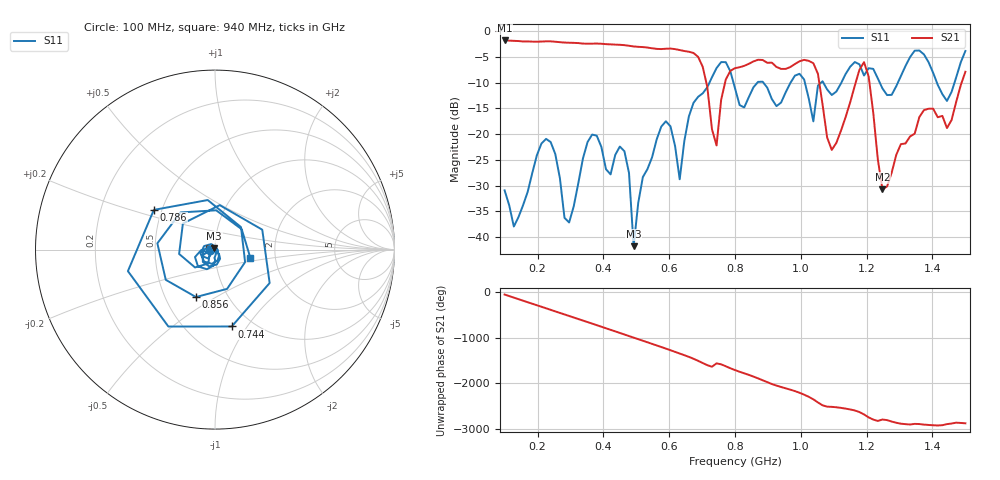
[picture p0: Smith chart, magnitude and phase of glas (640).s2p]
! NanoVNA-App
! Date: 2025-09-25 16:00:27
! Start: 100MHz Stop: 1,5GHz Points: 101
! S-Parameter data: F S11 S21 S12 S22
# Hz S RI R 50
!  Frequency  S11_Real  S11_Imag  S21_Real  S21_Imag  S12_Real  S12_Imag  S22_Real  S22_Imag
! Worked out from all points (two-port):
!   101 points, 100 MHz to 1.5 GHz, reference 50 ohm
!   highest |S21| = -1.80 dB at 100 MHz (marker M1); lowest = -30.7 dB at 1.248 GHz (marker M2)
!   |S21| within 3 dB of the highest: start of sweep to 684.4 MHz
!   lowest |S11| = -41.8 dB at 492 MHz (marker M3), VSWR 1.02, Z = 49.5 + j0.629 ohm
!   |S11| at or under -10 dB: start of sweep to 722.4 MHz; 795.3 MHz to 868 MHz (72.63 MHz wide, 8.73 % of centre); 886.2 MHz to 968.8 MHz (82.6 MHz wide, 8.91 % of centre) (the widest 3 of 7)
!   S12 and S22 are empty: the file has one direction only
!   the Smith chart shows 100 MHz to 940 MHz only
!   S11 on the Smith chart (normalised r, x): 100 MHz: 0.94, -0.01; 744 MHz: 0.80, -0.85; 786 MHz: 0.45, +0.24; 856 MHz: 0.71, -0.41; 940 MHz: 1.48, -0.14
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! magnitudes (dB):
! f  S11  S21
! 100 MHz  -30.9  -1.8
! 128 MHz  -38.0  -1.9
! 226 MHz  -20.9  -2.0
! 296 MHz  -37.2  -2.2
! 338 MHz  -24.7  -2.4
! 464 MHz  -23.3  -2.7
! 492 MHz  -41.8  -3.0
! 576 MHz  -18.5  -3.5
! 632 MHz  -28.8  -3.7
! 702 MHz  -12.1  -6.9
! 744 MHz  -7.2  -22.2
! 786 MHz  -7.8  -7.7
! 800 MHz  -11.1  -7.2
! 856 MHz  -10.9  -5.9
! 940 MHz  -13.9  -7.3
! 996 MHz  -8.3  -5.8
! 1.038 GHz  -17.5  -6.2
! 1.094 GHz  -12.4  -23.1
! 1.192 GHz  -8.6  -6.0
! 1.248 GHz  -11.1  -30.7
! 1.276 GHz  -12.4  -27.5
! 1.5 GHz  -3.8  -7.9
